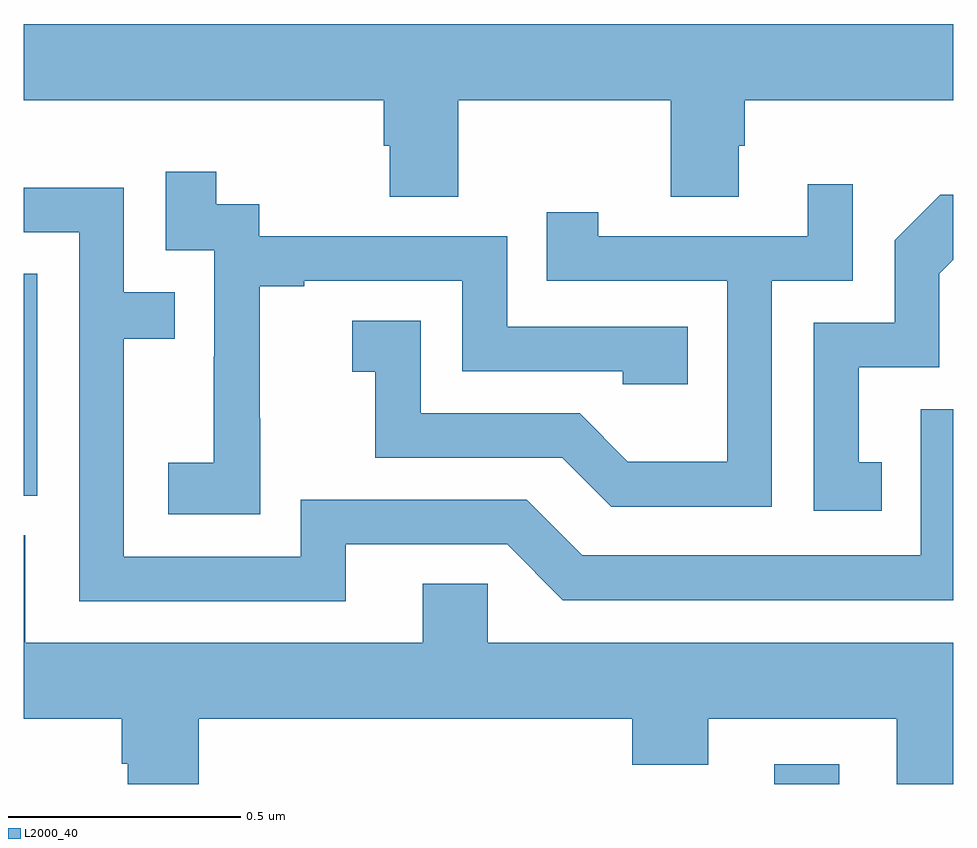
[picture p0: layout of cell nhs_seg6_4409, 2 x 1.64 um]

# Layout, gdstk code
import gdstk
lib = gdstk.Library(unit=1e-6, precision=1e-09)
def R(c, l, rs):  # rectangles x0, y0, x1, y1
    for r in rs: c.add(gdstk.rectangle(r[:2], r[2:], *l))
def P(c, l, *ps):  # polygons
    for p in ps: c.add(gdstk.Polygon(p, *l))
L2000_40 = (2000, 40)

nhs_seg6_4409 = lib.new_cell('nhs_seg6_4409')
R(nhs_seg6_4409, L2000_40, [(170.615,976.5,170.755,976.543), (169,977.121,169.029,977.598)])
P(nhs_seg6_4409, L2000_40, [(169,977.972),(169.775,977.972),(169.775,977.874),(169.787,977.874),(169.787,977.764),(169.935,977.764),(169.935,977.972),(170.392,977.972),(170.392,977.764),(170.539,977.764),(170.539,977.874),(170.552,977.874),(170.552,977.972),(171,977.972),(171,978.136),(169,978.136)],
  [(169.509,977.287),(169.508,977.287),(169.508,977.571),(169.603,977.571),(169.603,977.583),(169.944,977.583),(169.944,977.388),(170.289,977.388),(170.289,977.361),(170.429,977.361),(170.429,977.484),(170.04,977.484),(170.04,977.679),(169.506,977.679),(169.506,977.748),(169.414,977.748),(169.414,977.818),(169.305,977.818),(169.305,977.649),(169.41,977.649),(169.41,977.42),(169.409,977.42),(169.409,977.191),(169.311,977.191),(169.311,977.081),(169.509,977.081)],
  [(170.61,977.583),(170.784,977.583),(170.784,977.791),(170.687,977.791),(170.687,977.679),(170.236,977.679),(170.236,977.731),(170.125,977.731),(170.125,977.583),(170.514,977.583),(170.514,977.194),(170.3,977.194),(170.196,977.298),(169.854,977.298),(169.854,977.497),(169.707,977.497),(169.707,977.387),(169.756,977.387),(169.756,977.202),(170.159,977.202),(170.264,977.097),(170.61,977.097)],
  [(169.693,977.016),(170.04,977.016),(170.16,976.896),(171,976.896),(171,977.307),(170.931,977.307),(170.931,976.992),(170.202,976.992),(170.082,977.112),(169.596,977.112),(169.596,976.989),(169.215,976.989),(169.215,977.458),(169.325,977.458),(169.325,977.559),(169.215,977.559),(169.215,977.784),(169,977.784),(169,977.688),(169.119,977.688),(169.119,976.893),(169.693,976.893)],
  [(170.846,977.193),(170.797,977.193),(170.797,977.397),(170.97,977.397),(170.97,977.598),(171,977.628),(171,977.768),(170.972,977.768),(170.874,977.67),(170.874,977.493),(170.7,977.493),(170.7,977.088),(170.846,977.088)],
  [(169.376,976.64),(170.309,976.64),(170.309,976.541),(170.473,976.541),(170.473,976.64),(170.879,976.64),(170.879,976.5),(171,976.5),(171,976.804),(169.998,976.804),(169.998,976.931),(169.859,976.931),(169.859,976.804),(169.003,976.804),(169.003,977.036),(169,977.036),(169,976.64),(169.211,976.64),(169.211,976.544),(169.223,976.544),(169.223,976.5),(169.376,976.5)])

lib.write_gds('nhs_seg6_4409.gds')
